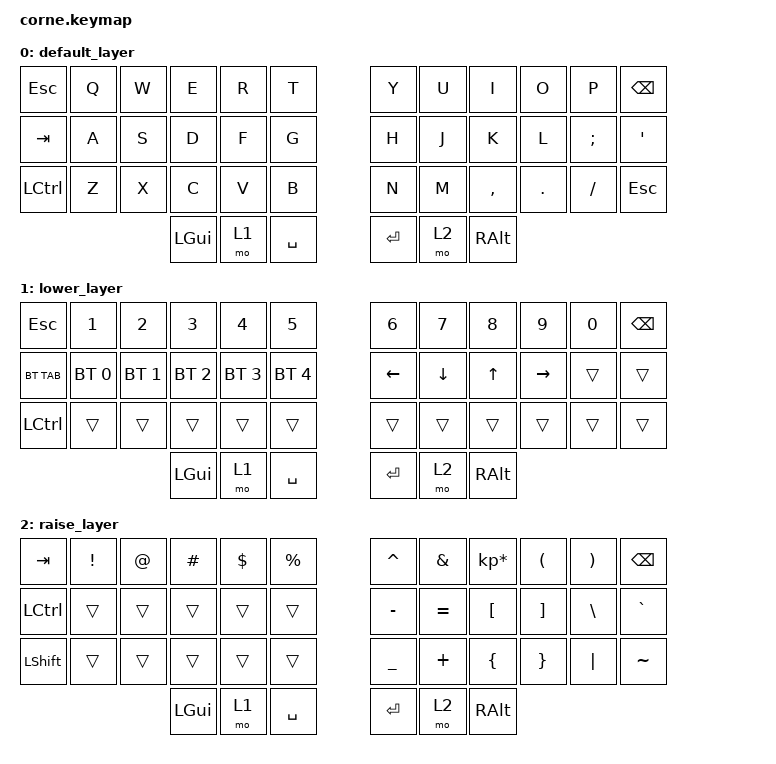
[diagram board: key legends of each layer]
/*
 * Copyright (c) 2020 The ZMK Contributors
 *
 * SPDX-License-Identifier: MIT
 */

#include <behaviors.dtsi>
#include <dt-bindings/zmk/keys.h>
#include <dt-bindings/zmk/bt.h>

/ {
        keymap {
                compatible = "zmk,keymap";

                default_layer {
// -----------------------------------------------------------------------------------------
// | ESC |  Q  |  W  |  E  |  R  |  T  |    |  Y  |  U   |  I  |  O  |  P  | BKSP |
// | TAB |  A  |  S  |  D  |  F  |  G  |    |  H  |  J   |  K  |  L  |  ;  |  '   |
// | CTRL|  Z  |  X  |  C  |  V  |  B  |    |  N  |  M   |  ,  |  .  |  /  | ALT  |
//                   | GUI | LWR | ENT |    | SPC | RSE  |SHIFT|
                        bindings = <
    &kp ESC  &kp Q   &kp W  &kp E   &kp R  &kp T       &kp Y &kp U    &kp I     &kp O   &kp P    &kp BSPC
    &kp TAB  &kp A   &kp S  &kp D   &kp F  &kp G       &kp H &kp J    &kp K     &kp L   &kp SEMI &kp SQT
    &kp LCTRL &kp Z  &kp X   &kp C   &kp V  &kp B       &kp N &kp M    &kp COMMA &kp DOT &kp FSLH &kp ESC
                  &kp LGUI &mo 1 &kp SPACE   &kp RET &mo 2 &kp RALT
                        >;
                };
                lower_layer {
// -----------------------------------------------------------------------------------------
// | ESC  |  1  |  2  |  3  |  4  |  5  |----|  6  |  7  |  8  |  9  |  0  | BKSP |
// | TAB  |  \  |  *  |  +  |  -  |  =  |----|     |  (  |  )  |  [  |  ]  |      |
// | CTRL |  ~  |  _  |  #  |  %  |  |  |----|     |  {  |  }  |  <  |  >  | ALT  |
//                    | GUI |     | SPC |----| ENT |     | ALT |
                        bindings = <
   &kp ESC    &kp N1       &kp N2       &kp N3       &kp N4       &kp N5         &kp N6   &kp N7   &kp N8 &kp N9    &kp N0 &kp BSPC
   &bt TAB    &bt BT_SEL 0 &bt BT_SEL 1 &bt BT_SEL 2 &bt BT_SEL 3 &bt BT_SEL 4   &kp LEFT &kp DOWN &kp UP &kp RIGHT &trans &trans
   &kp LCTRL  &trans       &trans       &trans       &trans       &trans         &trans   &trans   &trans &trans    &trans &trans
                          	        &kp LGUI &mo 1 &kp SPACE   &kp RET &mo 2 &kp RALT
                        >;
                };

                raise_layer {
// -----------------------------------------------------------------------------------------
// |  TAB |  !  |  @  |  #  |  $  |  %  |   |  ^  |  &  |  UP |  (  |  )  | BKSP |
// | CTRL |     |PREV |PLAY |NEXT |VOL +|   |  -  |LEFT | DWN |RIGHT|  \  |  `   |
// | SHFT |     |     |     |     |VOL -|   |  _  |  +  |  {  |  }  | "|" |  ~   |
//                    | GUI |     | SPC |   | ENT |     | ALT |
                        bindings = <
   &kp TAB  &kp EXCL &kp AT &kp HASH &kp DLLR &kp PRCNT   &kp CARET &kp AMPS  &kp KP_MULTIPLY &kp LPAR &kp RPAR &kp BSPC
   &kp LCTRL &trans   &trans &trans   &trans   &trans      &kp MINUS &kp EQUAL &kp LBKT        &kp RBKT &kp BSLH &kp GRAVE
   &kp LSHFT &trans   &trans &trans   &trans   &trans      &kp UNDER &kp PLUS  &kp LBRC        &kp RBRC &kp PIPE &kp TILDE
                    	      &kp LGUI &mo 1 &kp SPACE   &kp RET &mo 2 &kp RALT
                        >;
                };
        };
};
